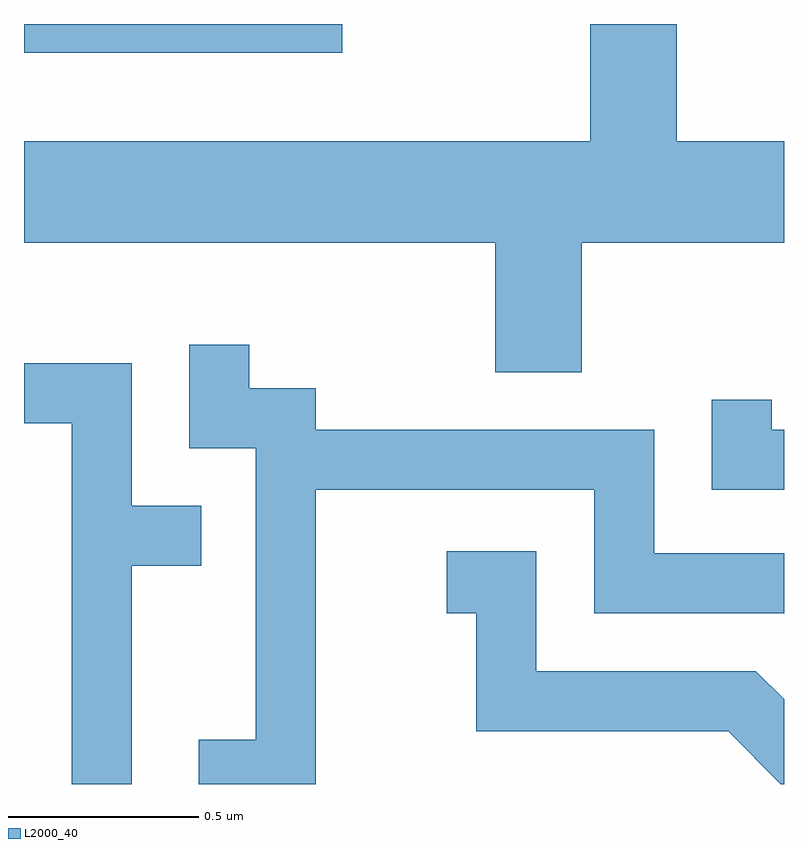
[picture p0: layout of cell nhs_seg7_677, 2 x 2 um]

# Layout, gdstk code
import gdstk
lib = gdstk.Library(unit=1e-6, precision=1e-09)
def R(c, l, rs):  # rectangles x0, y0, x1, y1
    for r in rs: c.add(gdstk.rectangle(r[:2], r[2:], *l))
def P(c, l, *ps):  # polygons
    for p in ps: c.add(gdstk.Polygon(p, *l))
L2000_40 = (2000, 40)

nhs_seg7_677 = lib.new_cell('nhs_seg7_677')
R(nhs_seg7_677, L2000_40, [(189.611,1799.176,190.448,1799.252)])
P(nhs_seg7_677, L2000_40, [(191.079,1798.676),(191.611,1798.676),(191.611,1798.944),(191.329,1798.944),(191.329,1799.252),(191.101,1799.252),(191.101,1798.944),(189.611,1798.944),(189.611,1798.676),(190.851,1798.676),(190.851,1798.336),(191.079,1798.336)],
  [(190.379,1798.026),(191.111,1798.026),(191.111,1797.701),(191.611,1797.701),(191.611,1797.859),(191.269,1797.859),(191.269,1798.184),(190.379,1798.184),(190.379,1798.294),(190.204,1798.294),(190.204,1798.408),(190.046,1798.408),(190.046,1798.136),(190.221,1798.136),(190.221,1797.369),(190.071,1797.369),(190.071,1797.252),(190.379,1797.252)],
  [(189.894,1797.826),(190.078,1797.826),(190.078,1797.984),(189.894,1797.984),(189.894,1798.359),(189.611,1798.359),(189.611,1798.201),(189.736,1798.201),(189.736,1797.252),(189.894,1797.252)],
  [(191.611,1798.184),(191.579,1798.184),(191.579,1798.263),(191.421,1798.263),(191.421,1798.026),(191.611,1798.026)],
  [(191.611,1797.475),(191.537,1797.549),(190.959,1797.549),(190.959,1797.864),(190.723,1797.864),(190.723,1797.701),(190.801,1797.701),(190.801,1797.391),(191.464,1797.391),(191.603,1797.252),(191.611,1797.252)])

lib.write_gds('nhs_seg7_677.gds')
